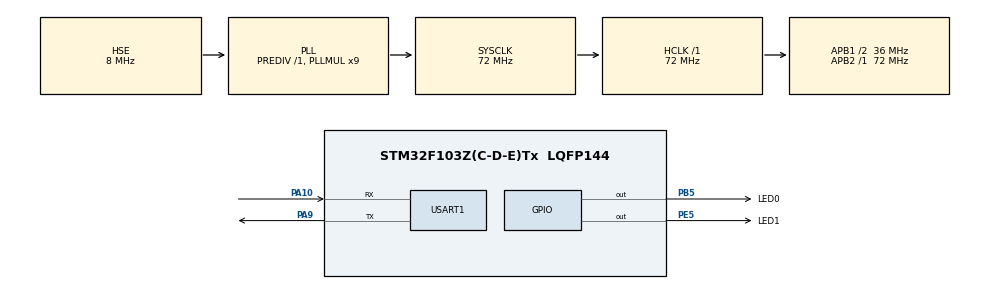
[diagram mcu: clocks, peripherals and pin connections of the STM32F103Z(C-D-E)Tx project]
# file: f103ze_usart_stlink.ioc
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Dma.Request0=USART1_RX
Dma.Request1=USART1_TX
Dma.USART1_RX.0.Direction=DMA_PERIPH_TO_MEMORY
Dma.USART1_RX.0.Instance=DMA1_Channel5
Dma.USART1_RX.0.MemDataAlignment=DMA_MDATAALIGN_BYTE
Dma.USART1_RX.0.MemInc=DMA_MINC_ENABLE
Dma.USART1_RX.0.Mode=DMA_NORMAL
Dma.USART1_RX.0.PeriphDataAlignment=DMA_PDATAALIGN_BYTE
Dma.USART1_RX.0.PeriphInc=DMA_PINC_DISABLE
Dma.USART1_RX.0.Priority=DMA_PRIORITY_LOW
Dma.USART1_TX.1.Direction=DMA_MEMORY_TO_PERIPH
Dma.USART1_TX.1.Instance=DMA1_Channel4
Dma.USART1_TX.1.MemDataAlignment=DMA_MDATAALIGN_BYTE
Dma.USART1_TX.1.MemInc=DMA_MINC_ENABLE
Dma.USART1_TX.1.Mode=DMA_NORMAL
Dma.USART1_TX.1.PeriphDataAlignment=DMA_PDATAALIGN_BYTE
Dma.USART1_TX.1.PeriphInc=DMA_PINC_DISABLE
Dma.USART1_TX.1.Priority=DMA_PRIORITY_LOW
Mcu.Family=STM32F1
Mcu.Name=STM32F103Z(C-D-E)Tx
Mcu.Package=LQFP144
NVIC.DMA1_Channel4_IRQn=true\:0\:0\:false\:false\:true\:false\:true\:true
NVIC.DMA1_Channel5_IRQn=true\:0\:0\:false\:false\:true\:false\:true\:true
NVIC.PriorityGroup=NVIC_PRIORITYGROUP_4
NVIC.USART1_IRQn=true\:2\:0\:true\:false\:true\:true\:true\:true
OSC_IN.Mode=HSE-External-Oscillator
OSC_IN.Signal=RCC_OSC_IN
OSC_OUT.Mode=HSE-External-Oscillator
OSC_OUT.Signal=RCC_OSC_OUT
PA10.Mode=Asynchronous
PA10.Signal=USART1_RX
PA13.Mode=Serial_Wire
PA13.Signal=SYS_JTMS-SWDIO
PA14.Mode=Serial_Wire
PA14.Signal=SYS_JTCK-SWCLK
PA9.Mode=Asynchronous
PA9.Signal=USART1_TX
PB5.GPIO_Label=LED0
PB5.GPIO_Speed=GPIO_SPEED_FREQ_HIGH
PB5.PinState=GPIO_PIN_SET
PB5.Signal=GPIO_Output
PC14-OSC32_IN.Mode=LSE-External-Oscillator
PC14-OSC32_IN.Signal=RCC_OSC32_IN
PC15-OSC32_OUT.Mode=LSE-External-Oscillator
PC15-OSC32_OUT.Signal=RCC_OSC32_OUT
PE5.GPIO_Label=LED1
PE5.GPIO_Speed=GPIO_SPEED_FREQ_HIGH
PE5.PinState=GPIO_PIN_SET
PE5.Signal=GPIO_Output
ProjectManager.HeapSize=0x200
ProjectManager.StackSize=0x400
ProjectManager.TargetToolchain=SW4STM32
RCC.AHBFreq_Value=72000000
RCC.APB1CLKDivider=RCC_HCLK_DIV2
RCC.APB1Freq_Value=36000000
RCC.APB1TimFreq_Value=72000000
RCC.APB2Freq_Value=72000000
RCC.APB2TimFreq_Value=72000000
RCC.HCLKFreq_Value=72000000
RCC.PLLMUL=RCC_PLL_MUL9
RCC.PLLSourceVirtual=RCC_PLLSOURCE_HSE
RCC.SYSCLKFreq_VALUE=72000000
RCC.SYSCLKSource=RCC_SYSCLKSOURCE_PLLCLK
RCC.USBFreq_Value=72000000
USART1.VirtualMode=VM_ASYNC
board=custom

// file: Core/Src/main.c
/* USER CODE BEGIN Header */
/**
  ******************************************************************************
  * @file           : main.c
  * @brief          : Main program body
  ******************************************************************************
  * @attention
  *
  * Copyright (c) 2022 STMicroelectronics.
  * All rights reserved.
  *
  * This software is licensed under terms that can be found in the LICENSE file
  * in the root directory of this software component.
  * If no LICENSE file comes with this software, it is provided AS-IS.
  *
  ******************************************************************************
  */
/* USER CODE END Header */
#include "main.h"
#include "dma.h"
#include "usart.h"
#include "gpio.h"

/* USER CODE BEGIN Includes */
#include <string.h>
/* USER CODE END Includes */

/* USER CODE BEGIN PD */
#define LENGTH 100
/* USER CODE END PD */

/* USER CODE BEGIN PV */

// 以下注释代码为中断方式收发的代码
//uint8_t p_t_data[20] = "HelloWorld";
//uint8_t p_r_data[20] = {0};
//
//uint8_t tx_cplt_flag = 0;
//uint8_t rx_cplt_flag = 0;
//uint8_t p_buf[20] = {0};

// 以下为DMA方式，空闲中断收发
extern DMA_HandleTypeDef hdma_usart1_rx;
uint8_t RxBuffer[LENGTH];
uint8_t RecCount = 0;
uint8_t RxFlag = 0;

/* USER CODE END PV */

void SystemClock_Config(void);

int main(void)
{

  /* MCU Configuration--------------------------------------------------------*/

  /* Reset of all peripherals, Initializes the Flash interface and the Systick. */
  HAL_Init();

  /* Configure the system clock */
  SystemClock_Config();

  /* Initialize all configured peripherals */
  MX_GPIO_Init();
  MX_DMA_Init();
  MX_USART1_UART_Init();
  /* USER CODE BEGIN 2 */
    char *msg1 = "***** UART Communication using Idle IT + DMA *****\r\n";

    HAL_UART_Transmit(&huart1, msg1, strlen(msg1), 1000);
    // HAL_UART_Transmit(&huart1, msg2, strlen(msg2), 1000);
    __HAL_UART_ENABLE_IT(&huart1, UART_IT_IDLE);
    HAL_UART_Receive_DMA(&huart1, (uint8_t *)RxBuffer, LENGTH);
  /* USER CODE END 2 */

  /* Infinite loop */
  /* USER CODE BEGIN WHILE */
  while (1)
  {
//      HAL_GPIO_TogglePin(LED0_GPIO_Port, LED0_Pin);
//      HAL_GPIO_TogglePin(LED1_GPIO_Port, LED1_Pin);
//      HAL_Delay(500);
//      // printf("Hello, Usart\r\n");
//      HAL_UART_Receive(&huart1, p_data, 10, 1000);
//      //HAL_Delay(300);
//      printf("len: %d", strlen(p_data));
//      HAL_UART_Transmit(&huart1, p_data, 10, 1000);

//      if(rx_cplt_flag == 1)
//      {
//          rx_cplt_flag == 0;
//            printf("RXXX: \r\n");
//          HAL_UART_Transmit_IT(&huart1, p_r_data, 10);
//                HAL_GPIO_TogglePin(LED0_GPIO_Port, LED0_Pin);
//      HAL_GPIO_TogglePin(LED1_GPIO_Port, LED1_Pin);
//      HAL_Delay(500);
//      }
//
//      if(tx_cplt_flag == 1)
//      {
//          printf("TXXX: \r\n");
//          tx_cplt_flag = 0;
//          HAL_UART_Receive_IT(&huart1, p_r_data, 10);
//      }

      //memset(p_data, 0, 20);
    /* USER CODE END WHILE */

    /* USER CODE BEGIN 3 */

      // HAL_UART_Transmit(&huart1, msg1, strlen(msg1), 1000);
      HAL_Delay(500);
      if(RxFlag == 1) {
          RxFlag = 0;
          RecCount = LENGTH - __HAL_DMA_GET_COUNTER(&hdma_usart1_rx);
          HAL_UART_Transmit_DMA(&huart1, (uint8_t *) RxBuffer, RecCount);
          RecCount = 0;
          __HAL_DMA_DISABLE(&hdma_usart1_rx);

          HAL_UART_Receive_DMA(&huart1, (uint8_t *)RxBuffer, LENGTH);
          __HAL_DMA_ENABLE(&hdma_usart1_rx);
      }
  }
  /* USER CODE END 3 */
}

void SystemClock_Config(void)
{
  RCC_OscInitTypeDef RCC_OscInitStruct = {0};
  RCC_ClkInitTypeDef RCC_ClkInitStruct = {0};

  /** Initializes the RCC Oscillators according to the specified parameters
  * in the RCC_OscInitTypeDef structure.
  */
  RCC_OscInitStruct.OscillatorType = RCC_OSCILLATORTYPE_HSE;
  RCC_OscInitStruct.HSEState = RCC_HSE_ON;
  RCC_OscInitStruct.HSEPredivValue = RCC_HSE_PREDIV_DIV1;
  RCC_OscInitStruct.HSIState = RCC_HSI_ON;
  RCC_OscInitStruct.PLL.PLLState = RCC_PLL_ON;
  RCC_OscInitStruct.PLL.PLLSource = RCC_PLLSOURCE_HSE;
  RCC_OscInitStruct.PLL.PLLMUL = RCC_PLL_MUL9;
  if (HAL_RCC_OscConfig(&RCC_OscInitStruct) != HAL_OK)
  {
    Error_Handler();
  }

  /** Initializes the CPU, AHB and APB buses clocks
  */
  RCC_ClkInitStruct.ClockType = RCC_CLOCKTYPE_HCLK|RCC_CLOCKTYPE_SYSCLK
                              |RCC_CLOCKTYPE_PCLK1|RCC_CLOCKTYPE_PCLK2;
  RCC_ClkInitStruct.SYSCLKSource = RCC_SYSCLKSOURCE_PLLCLK;
  RCC_ClkInitStruct.AHBCLKDivider = RCC_SYSCLK_DIV1;
  RCC_ClkInitStruct.APB1CLKDivider = RCC_HCLK_DIV2;
  RCC_ClkInitStruct.APB2CLKDivider = RCC_HCLK_DIV1;

  if (HAL_RCC_ClockConfig(&RCC_ClkInitStruct, FLASH_LATENCY_2) != HAL_OK)
  {
    Error_Handler();
  }
}

/* USER CODE BEGIN 4 */
void com_handle(void)
{
    char *msg2 = "Please enter arbitrary length characters:\r\n";
    printf("%s", msg2);
    HAL_UART_Receive_DMA(&huart1, (uint8_t *)RxBuffer, LENGTH);
    if(RxFlag == 1)
    {
        RxFlag = 0;
        RecCount = LENGTH - __HAL_DMA_GET_COUNTER(&hdma_usart1_rx);
        HAL_UART_Transmit_DMA(&huart1, (uint8_t *) RxBuffer, RecCount);
        RecCount = 0;
        __HAL_DMA_DISABLE(&hdma_usart1_rx);

        HAL_UART_Receive_DMA(&huart1, (uint8_t *)RxBuffer, LENGTH);
        __HAL_DMA_ENABLE(&hdma_usart1_rx);
    }
}

/* USER CODE END 4 */

void Error_Handler(void)
{
  __disable_irq();
  while (1)
  {
  }
}
